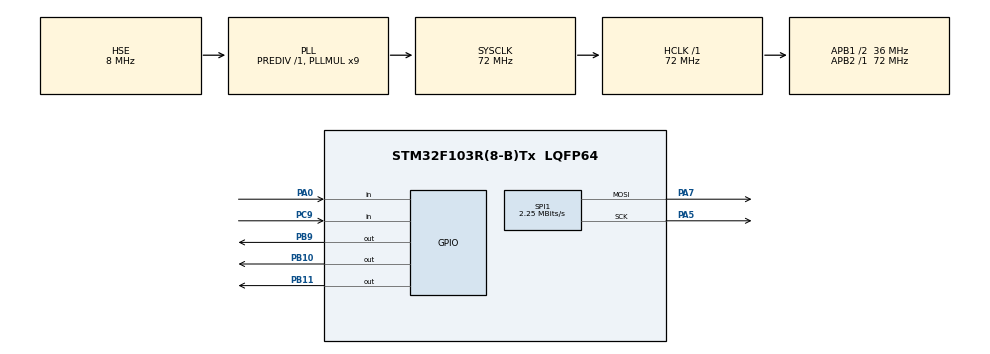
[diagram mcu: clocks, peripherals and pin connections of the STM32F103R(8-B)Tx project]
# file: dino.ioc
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Mcu.Family=STM32F1
Mcu.Name=STM32F103R(8-B)Tx
Mcu.Package=LQFP64
NVIC.PriorityGroup=NVIC_PRIORITYGROUP_4
PA0-WKUP.GPIO_PuPd=GPIO_PULLDOWN
PA0-WKUP.Signal=GPIO_Input
PA13.Mode=Serial_Wire
PA13.Signal=SYS_JTMS-SWDIO
PA14.Mode=Serial_Wire
PA14.Signal=SYS_JTCK-SWCLK
PA5.Mode=TX_Only_Simplex_Unidirect_Master
PA5.Signal=SPI1_SCK
PA7.Mode=TX_Only_Simplex_Unidirect_Master
PA7.Signal=SPI1_MOSI
PB10.Signal=GPIO_Output
PB11.Signal=GPIO_Output
PB9.Signal=GPIO_Output
PC14-OSC32_IN.Mode=LSE-External-Oscillator
PC14-OSC32_IN.Signal=RCC_OSC32_IN
PC15-OSC32_OUT.Mode=LSE-External-Oscillator
PC15-OSC32_OUT.Signal=RCC_OSC32_OUT
PC9.GPIO_PuPd=GPIO_PULLUP
PC9.Signal=GPIO_Input
PD0-OSC_IN.Mode=HSE-External-Oscillator
PD0-OSC_IN.Signal=RCC_OSC_IN
PD1-OSC_OUT.Mode=HSE-External-Oscillator
PD1-OSC_OUT.Signal=RCC_OSC_OUT
ProjectManager.HeapSize=0x200
ProjectManager.StackSize=0x400
ProjectManager.TargetToolchain=MDK-ARM V5.32
RCC.AHBFreq_Value=72000000
RCC.APB1CLKDivider=RCC_HCLK_DIV2
RCC.APB1Freq_Value=36000000
RCC.APB1TimFreq_Value=72000000
RCC.APB2Freq_Value=72000000
RCC.APB2TimFreq_Value=72000000
RCC.HCLKFreq_Value=72000000
RCC.PLLMUL=RCC_PLL_MUL9
RCC.PLLSourceVirtual=RCC_PLLSOURCE_HSE
RCC.SYSCLKFreq_VALUE=72000000
RCC.SYSCLKSource=RCC_SYSCLKSOURCE_PLLCLK
RCC.USBFreq_Value=72000000
SPI1.BaudRatePrescaler=SPI_BAUDRATEPRESCALER_32
SPI1.CalculateBaudRate=2.25 MBits/s
SPI1.Direction=SPI_DIRECTION_2LINES
SPI1.Mode=SPI_MODE_MASTER
SPI1.VirtualType=VM_MASTER
board=custom

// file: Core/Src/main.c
/* USER CODE BEGIN Header */
/**
  ******************************************************************************
  * @file           : main.c
  * @brief          : Main program body
  ******************************************************************************
  * @attention
  *
  * Copyright (c) 2023 STMicroelectronics.
  * All rights reserved.
  *
  * This software is licensed under terms that can be found in the LICENSE file
  * in the root directory of this software component.
  * If no LICENSE file comes with this software, it is provided AS-IS.
  *
  ******************************************************************************
  */
/* USER CODE END Header */
#include "main.h"
#include "spi.h"
#include "gpio.h"

/* USER CODE BEGIN Includes */
#include "oled.h"
#include "stdlib.h"
#include "oled.c"

/* USER CODE END Includes */

/* USER CODE BEGIN PTD */
int num_n(int n){
		int sum=0;
	while(n){
			n/=10;
		sum++;
	}
	return sum;
}
/* USER CODE END PTD */

void SystemClock_Config(void);

int main(void)
{
  /* USER CODE BEGIN 1 */
	//srand((unsigned)time(NULL));

  /* USER CODE END 1 */

  /* MCU Configuration--------------------------------------------------------*/

  /* Reset of all peripherals, Initializes the Flash interface and the Systick. */
  HAL_Init();

  /* Configure the system clock */
  SystemClock_Config();

  /* Initialize all configured peripherals */
  MX_GPIO_Init();
  MX_SPI1_Init();
  /* USER CODE BEGIN 2 */
	OLED_Init();
	OLED_Display_On();
	OLED_Clear();

	static int cac_n=0;
int cac_len;
static  int height =0;
unsigned char key=0,failed=0;
static int score,highest_score=0;
char s[5]={'0','0','0','0','0'};
char h[5]={'0','0','0','0','0'};

OLED_cover();

while(key1==1);
OLED_Clear();
  /* USER CODE END 2 */

  /* Infinite loop */
  /* USER CODE BEGIN WHILE */
  while (1)
  {
		if(failed==1){

				OLED_restart();
				key=key_scan();
			if(key==2){
					if(highest_score<=score) highest_score=score;
				failed=0;
				score=0;
				memset(s,'0',sizeof(s));
				height=0;
				OLED_cactus(cac_n,1);
				OLED_dino_jump(1);
				OLED_Clear();
			}
			continue;
		}

		score++;
		int cur_speed=score/1000;
		if(cur_speed>10) cur_speed=10;

		int idx=4;
		int temp=score;
		while(temp){
				s[idx--]='0'+temp%10;
				temp/=10;
		}
		idx=4;
		int t=highest_score;
		while(t){
				h[idx--]='0'+t%10;
				t/=10;
		}

		if(height==0) key=key_scan();
		OLED_ground();
		OLED_cloud();
		//OLED_dragon();
		int cac_pos=OLED_cactus(cac_n,0);

		OLED_ShowString(2,-1,"HI:");
		OLED_ShowString(28,-1,h);
		OLED_ShowString(80,-1,s);

		if(height>0 || key==1) height=OLED_dino_jump(0);//相当于更新高度
		else OLED_dino();
		if(cac_n==0) cac_len= 8;
		else if(cac_n==1) cac_len=16;
		else cac_len=24;
		if(cac_pos+cac_len<0){
				cac_n=rand()%4;
			OLED_cactus(cac_n,1);
		}

		if((height<16) && ((cac_pos>=16 && cac_pos<=32)||(cac_pos+cac_len>=16 && cac_pos+cac_len<=32))){
				failed=1;
		}

		HAL_Delay(15-cur_speed);

    /* USER CODE END WHILE */

  }
}

void SystemClock_Config(void)
{
  RCC_OscInitTypeDef RCC_OscInitStruct = {0};
  RCC_ClkInitTypeDef RCC_ClkInitStruct = {0};

  /** Initializes the RCC Oscillators according to the specified parameters
  * in the RCC_OscInitTypeDef structure.
  */
  RCC_OscInitStruct.OscillatorType = RCC_OSCILLATORTYPE_HSE;
  RCC_OscInitStruct.HSEState = RCC_HSE_ON;
  RCC_OscInitStruct.HSEPredivValue = RCC_HSE_PREDIV_DIV1;
  RCC_OscInitStruct.HSIState = RCC_HSI_ON;
  RCC_OscInitStruct.PLL.PLLState = RCC_PLL_ON;
  RCC_OscInitStruct.PLL.PLLSource = RCC_PLLSOURCE_HSE;
  RCC_OscInitStruct.PLL.PLLMUL = RCC_PLL_MUL9;
  if (HAL_RCC_OscConfig(&RCC_OscInitStruct) != HAL_OK)
  {
    Error_Handler();
  }

  /** Initializes the CPU, AHB and APB buses clocks
  */
  RCC_ClkInitStruct.ClockType = RCC_CLOCKTYPE_HCLK|RCC_CLOCKTYPE_SYSCLK
                              |RCC_CLOCKTYPE_PCLK1|RCC_CLOCKTYPE_PCLK2;
  RCC_ClkInitStruct.SYSCLKSource = RCC_SYSCLKSOURCE_PLLCLK;
  RCC_ClkInitStruct.AHBCLKDivider = RCC_SYSCLK_DIV1;
  RCC_ClkInitStruct.APB1CLKDivider = RCC_HCLK_DIV2;
  RCC_ClkInitStruct.APB2CLKDivider = RCC_HCLK_DIV1;

  if (HAL_RCC_ClockConfig(&RCC_ClkInitStruct, FLASH_LATENCY_2) != HAL_OK)
  {
    Error_Handler();
  }
}

void Error_Handler(void)
{
  __disable_irq();
  while (1)
  {
  }
}
